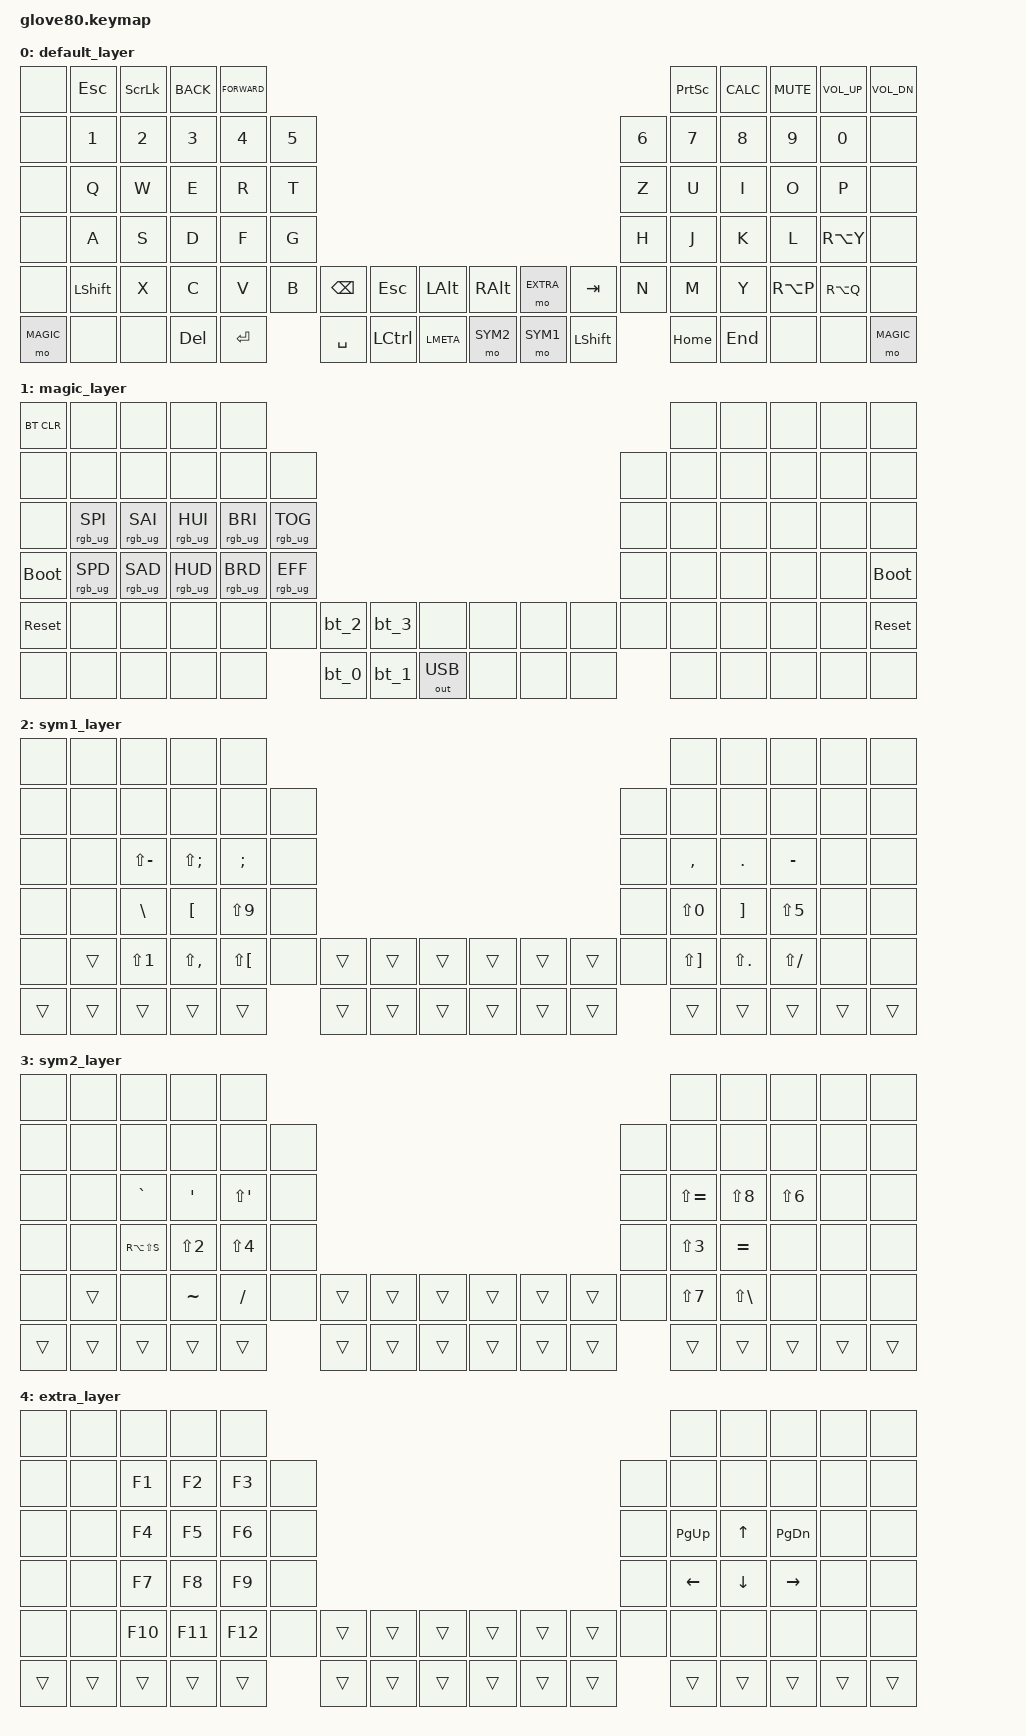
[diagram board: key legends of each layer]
/*
 * Copyright (c) 2020 The ZMK Contributors
 *
 * SPDX-License-Identifier: MIT
 */

#include <behaviors.dtsi>
#include <dt-bindings/zmk/keys.h>
#include <dt-bindings/zmk/bt.h>
#include <dt-bindings/zmk/ext_power.h>
#include <dt-bindings/zmk/outputs.h>
#include <dt-bindings/zmk/rgb.h>

// layers
#define DEFAULT 0
#define MAGIC 1
#define SYM1 2
#define SYM2 3
#define EXTRA 4
// #define NUM 5

/ {
    macros {
        bt_0: bt_profile_macro_0 {
            compatible = "zmk,behavior-macro";
            #binding-cells = <0>;
            bindings
                = <&out OUT_BLE>,
                  <&bt BT_SEL 0>;
        };

        bt_1: bt_profile_macro_1 {
            compatible = "zmk,behavior-macro";
            #binding-cells = <0>;
            bindings
                = <&out OUT_BLE>,
                  <&bt BT_SEL 1>;
        };

        bt_2: bt_profile_macro_2 {
            compatible = "zmk,behavior-macro";
            #binding-cells = <0>;
            bindings
                = <&out OUT_BLE>,
                  <&bt BT_SEL 2>;
        };

        bt_3: bt_profile_macro_3 {
            compatible = "zmk,behavior-macro";
            #binding-cells = <0>;
            bindings
                = <&out OUT_BLE>,
                  <&bt BT_SEL 3>;
        };
    };

    keymap {
        compatible = "zmk,keymap";

        default_layer {
            bindings = <
            &none         &kp ESC       &kp SLCK      &kp K_BACK    &kp K_FORWARD                                                                                                                 &kp PSCRN     &kp K_CALC    &kp C_MUTE    &kp C_VOL_UP  &kp C_VOL_DN
            &none         &kp N1        &kp N2        &kp N3        &kp N4        &kp N5                                                                                            &kp N6        &kp N7        &kp N8        &kp N9        &kp N0        &none       
            &none         &kp Q         &kp W         &kp E         &kp R         &kp T                                                                                             &kp Z         &kp U         &kp I         &kp O         &kp P         &none       
            &none         &kp A         &kp S         &kp D         &kp F         &kp G                                                                                             &kp H         &kp J         &kp K         &kp L         &kp RA(Y)     &none       
            &none         &kp LSHIFT    &kp X         &kp C         &kp V         &kp B         &kp BSPC      &kp ESC       &kp LALT      &kp RALT     &mo EXTRA    &kp TAB         &kp N         &kp M         &kp Y         &kp RA(P)     &kp RA(Q)     &none       
            &mo MAGIC     &none         &none         &kp DEL       &kp ENTER                   &kp SPACE     &kp LCTRL     &kp LMETA     &mo SYM2     &mo SYM1     &kp LSHIFT                    &kp HOME      &kp END       &none         &none         &mo MAGIC       
            >;
        };

        magic_layer {
            bindings = <
            &bt BT_CLR        &none               &none           &none           &none                                                                                                           &none      &none      &none      &none      &none
            &none             &none               &none           &none           &none           &none                                                                                &none      &none      &none      &none      &none      &none
            &none             &rgb_ug RGB_SPI     &rgb_ug RGB_SAI &rgb_ug RGB_HUI &rgb_ug RGB_BRI &rgb_ug RGB_TOG                                                                      &none      &none      &none      &none      &none      &none
            &bootloader       &rgb_ug RGB_SPD     &rgb_ug RGB_SAD &rgb_ug RGB_HUD &rgb_ug RGB_BRD &rgb_ug RGB_EFF                                                                      &none      &none      &none      &none      &none      &bootloader
            &sys_reset        &none               &none           &none           &none           &none           &bt_2     &bt_3     &none            &none     &none     &none       &none      &none      &none      &none      &none      &sys_reset
            &none             &none               &none           &none           &none                           &bt_0     &bt_1     &out OUT_USB     &none     &none     &none                  &none      &none      &none      &none      &none
            >;
        };

        sym1_layer {
            bindings = <
            &none         &none         &none         &none         &none                                                                                                                         &none         &none         &none         &none         &none       
            &none         &none         &none         &none         &none         &none                                                                                             &none         &none         &none         &none         &none         &none       
            &none         &none         &kp LS(MINUS) &kp LS(SEMI)  &kp SEMI      &none                                                                                             &none         &kp COMMA     &kp DOT       &kp MINUS     &none         &none       
            &none         &none         &kp BSLH      &kp LBKT      &kp LS(N9)    &none                                                                                             &none         &kp LS(N0)    &kp RBKT      &kp LS(N5)    &none         &none       
            &none         &trans        &kp LS(N1)    &kp LS(COMMA) &kp LS(LBKT)  &none         &trans        &trans        &trans        &trans        &trans        &trans        &none         &kp LS(RBKT)  &kp LS(DOT)   &kp LS(FSLH)  &none         &none       
            &trans        &trans        &trans        &trans        &trans                      &trans        &trans        &trans        &trans        &trans        &trans                      &trans        &trans        &trans        &trans        &trans      
            >;
        };

        sym2_layer {
            bindings = <
            &none         &none         &none         &none         &none                                                                                                                         &none         &none         &none         &none         &none       
            &none         &none         &none         &none         &none         &none                                                                                             &none         &none         &none         &none         &none         &none       
            &none         &none         &kp GRAVE     &kp APOS      &kp LS(APOS)  &none                                                                                             &none         &kp LS(EQUAL) &kp LS(N8)    &kp LS(N6)    &none         &none       
            &none         &none         &kp RA(LS(S)) &kp LS(N2)    &kp LS(N4)    &none                                                                                             &none         &kp LS(N3)    &kp EQUAL     &none         &none         &none       
            &none         &trans        &none         &kp TILDE     &kp FSLH      &none         &trans        &trans        &trans        &trans        &trans        &trans        &none         &kp LS(N7)    &kp LS(BSLH)  &none         &none         &none       
            &trans        &trans        &trans        &trans        &trans                      &trans        &trans        &trans        &trans        &trans        &trans                      &trans        &trans        &trans        &trans        &trans      
            >;
        };

        extra_layer {
            bindings = <
            &none         &none         &none         &none         &none                                                                                                                         &none         &none         &none         &none         &none       
            &none         &none         &kp F1        &kp F2        &kp F3        &none                                                                                             &none         &none         &none         &none         &none         &none       
            &none         &none         &kp F4        &kp F5        &kp F6        &none                                                                                             &none         &kp PG_UP     &kp UP        &kp PG_DN     &none         &none       
            &none         &none         &kp F7        &kp F8        &kp F9        &none                                                                                             &none         &kp LEFT      &kp DOWN      &kp RIGHT     &none         &none       
            &none         &none         &kp F10       &kp F11       &kp F12       &none         &trans        &trans        &trans        &trans        &trans        &trans        &none         &none         &none         &none         &none         &none       
            &trans        &trans        &trans        &trans        &trans                      &trans        &trans        &trans        &trans        &trans        &trans                      &trans        &trans        &trans        &trans        &trans      
            >;
        };
    };
};
